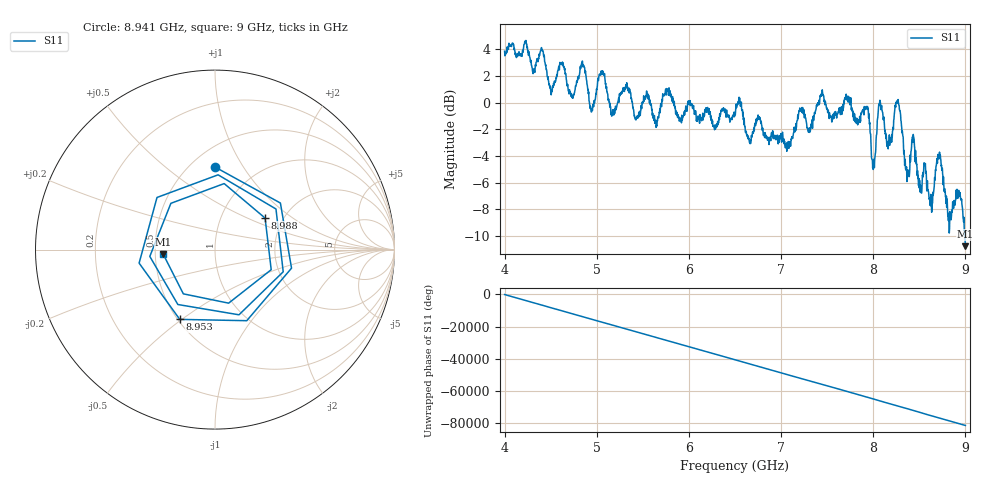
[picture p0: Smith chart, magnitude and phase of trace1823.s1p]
! Created with skrf 1.8.0 (http://scikit-rf.org).
# Hz S RI R 50.0
!freq ReS11 ImS11
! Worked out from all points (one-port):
!   1601 points, 4 GHz to 9 GHz, reference 50 ohm
!   lowest |S11| = -10.8 dB at 9 GHz (marker M1), VSWR 1.81, Z = 27.6 - j1.57 ohm
!   |S11| at or under -10 dB: 8.992964 GHz to end of sweep
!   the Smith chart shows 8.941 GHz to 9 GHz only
!   S11 on the Smith chart (normalised r, x): 8.941 GHz: 0.65, +0.76; 8.953 GHz: 0.51, -0.49; 8.988 GHz: 1.62, +0.64; 9 GHz: 0.55, -0.03
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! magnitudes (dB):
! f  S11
! 4 GHz  3.8
! 4.406 GHz  3.9
! 4.506 GHz  0.6
! 4.625 GHz  3.0
! 4.731 GHz  0.4
! 4.853 GHz  2.8
! 4.944 GHz  -0.7
! 5.05 GHz  2.2
! 5.169 GHz  -0.7
! 5.25 GHz  0.6
! 5.875 GHz  -1.1
! 6.5 GHz  -0.9
! 7.125 GHz  -2.7
! 7.75 GHz  0.2
! 7.928 GHz  -0.4
! 8.003 GHz  -4.4
! 8.069 GHz  0.0
! 8.169 GHz  -3.0
! 8.266 GHz  0.0
! 8.375 GHz  -5.0
! 8.434 GHz  -2.4
! 8.619 GHz  -7.5
! 8.709 GHz  -4.0
! 8.831 GHz  -8.2
! 8.941 GHz  -6.7
! 8.953 GHz  -7.2
! 8.988 GHz  -9.6
! 9 GHz  -10.8
